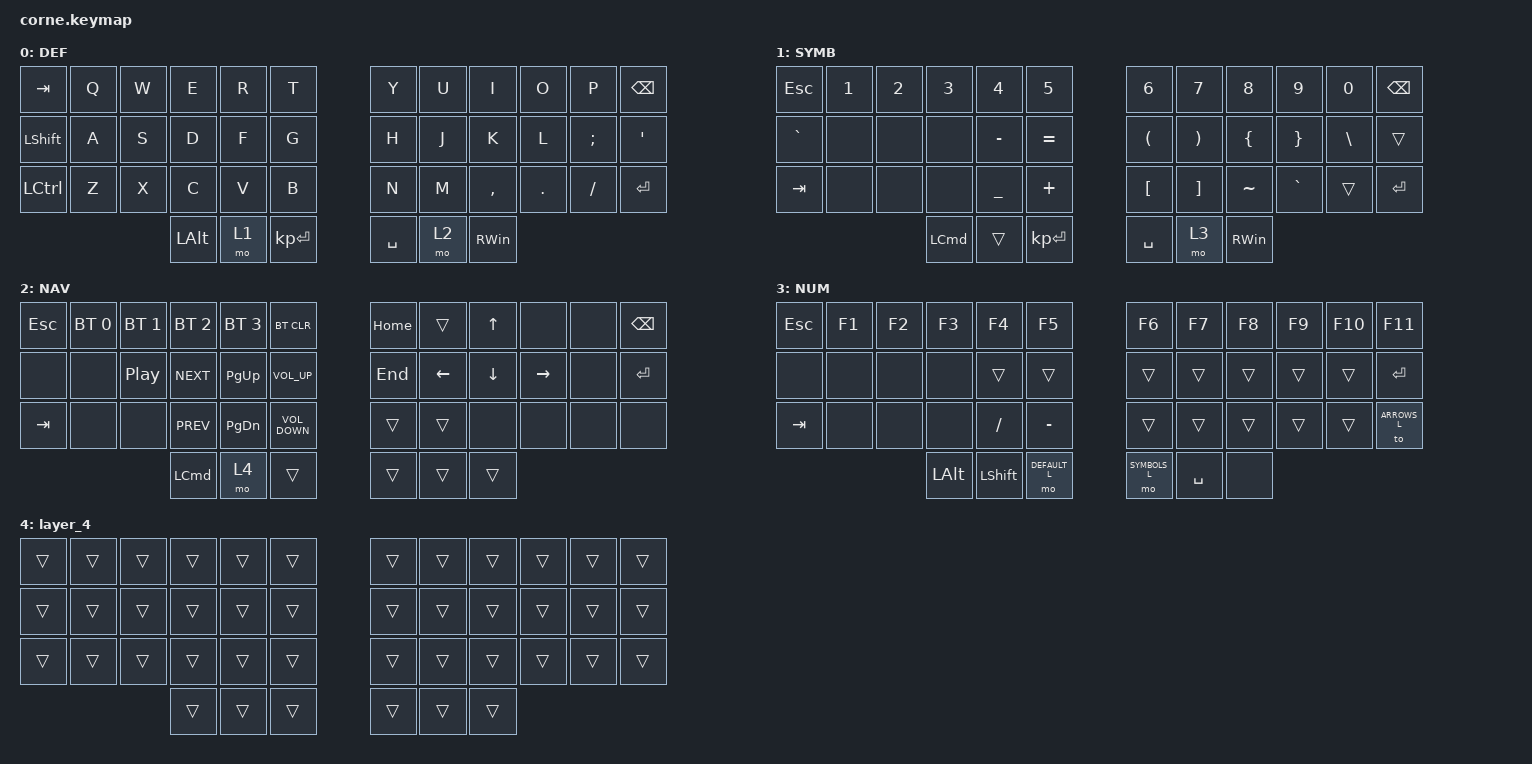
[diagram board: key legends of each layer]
/*
 * Copyright (c) 2020 The ZMK Contributors
 *
 * SPDX-License-Identifier: MIT
 */

#include <behaviors.dtsi>
#include <dt-bindings/zmk/bt.h>
#include <dt-bindings/zmk/keys.h>

#define DEFAULT_L 0
#define SYMBOLS_L 1
#define ARROWS_L  2
#define NUMBERS_L 3

/ {
    behaviors {
        hm: homerow_mods {
            compatible = "zmk,behavior-hold-tap";
            label = "HOMEROW_MODS";
            #binding-cells = <2>;
            tapping-term-ms = <300>;
            quick-tap-ms = <200>;
            flavor = "tap-preferred";
            bindings = <&kp>, <&kp>;
        };
    };

    keymap {
        compatible = "zmk,keymap";

        default_layer {
            label = "DEF";
            bindings = <
&kp TAB         &kp Q  &kp W  &kp E     &kp R  &kp T           &kp Y      &kp U  &kp I          &kp O    &kp P          &kp BSPC
&kp LEFT_SHIFT  &kp A  &kp S  &kp D     &kp F  &kp G           &kp H      &kp J  &kp K          &kp L    &kp SEMICOLON  &kp SQT
&kp LCTRL       &kp Z  &kp X  &kp C     &kp V  &kp B           &kp N      &kp M  &kp COMMA      &kp DOT  &kp SLASH      &kp ENTER
                              &kp LALT  &mo 1  &kp KP_ENTER    &kp SPACE  &mo 2  &kp RIGHT_WIN
            >;
        };

        symbols_layer {
            label = "SYMB";
            bindings = <
&kp ESC    &kp NUMBER_1  &kp NUMBER_2  &kp NUMBER_3  &kp NUMBER_4    &kp N5          &kp NUMBER_6          &kp NUMBER_7           &kp NUMBER_8    &kp NUMBER_9     &kp NUMBER_0  &kp BSPC
&kp GRAVE  &none         &none         &none         &kp MINUS       &kp EQUAL       &kp LEFT_PARENTHESIS  &kp RIGHT_PARENTHESIS  &kp LEFT_BRACE  &kp RIGHT_BRACE  &kp BSLH      &trans
&kp TAB    &none         &none         &none         &kp UNDERSCORE  &kp PLUS        &kp LBKT              &kp RIGHT_BRACKET      &kp TILDE       &kp GRAVE        &trans        &kp ENTER
                                       &kp LCMD      &trans          &kp KP_ENTER    &kp SPACE             &mo 3                  &kp RWIN
            >;
        };

        arrows_layer {
            label = "NAV";
            bindings = <
&kp ESC  &bt BT_SEL 0  &bt BT_SEL 1  &bt BT_SEL 2  &bt BT_SEL 3   &bt BT_CLR           &kp HOME  &trans    &kp UP    &none      &none  &kp BSPC
&none    &none         &kp C_PP      &kp C_NEXT    &kp PAGE_UP    &kp C_VOLUME_UP      &kp END   &kp LEFT  &kp DOWN  &kp RIGHT  &none  &kp RET
&kp TAB  &none         &none         &kp C_PREV    &kp PAGE_DOWN  &kp C_VOLUME_DOWN    &trans    &trans    &none     &none      &none  &none
                                     &kp LCMD      &mo 4          &trans               &trans    &trans    &trans
            >;
        };

        numbers_layer {
            label = "NUM";
            bindings = <
&kp ESC  &kp F1  &kp F2  &kp F3        &kp F4     &kp F5           &kp F6         &kp F7     &kp F8  &kp F9  &kp F10  &kp F11
&none    &none   &none   &none         &trans     &trans           &trans         &trans     &trans  &trans  &trans   &kp RET
&kp TAB  &none   &none   &none         &kp FSLH   &kp MINUS        &trans         &trans     &trans  &trans  &trans   &to ARROWS_L
                         &kp LEFT_ALT  &kp LSHFT  &mo DEFAULT_L    &mo SYMBOLS_L  &kp SPACE  &none
            >;
        };

        layer_4 {
            bindings = <
&trans  &trans  &trans  &trans  &trans  &trans    &trans  &trans  &trans  &trans  &trans  &trans
&trans  &trans  &trans  &trans  &trans  &trans    &trans  &trans  &trans  &trans  &trans  &trans
&trans  &trans  &trans  &trans  &trans  &trans    &trans  &trans  &trans  &trans  &trans  &trans
                        &trans  &trans  &trans    &trans  &trans  &trans
            >;
        };
    };
};
